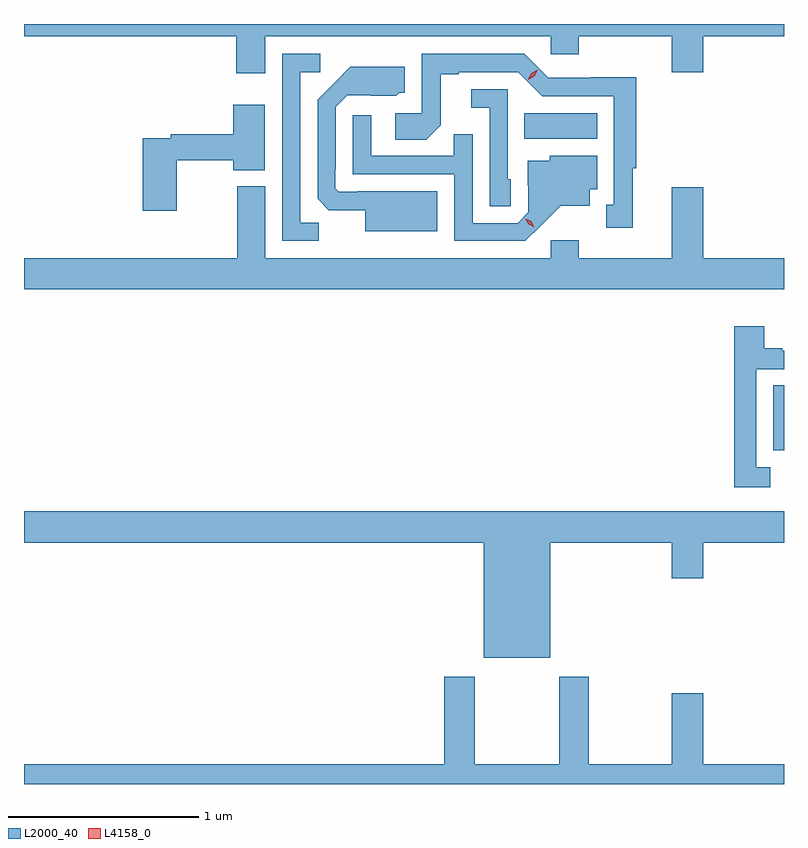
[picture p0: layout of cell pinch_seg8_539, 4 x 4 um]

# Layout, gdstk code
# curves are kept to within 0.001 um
import gdstk
lib = gdstk.Library(unit=1e-6, precision=1e-09)
def R(c, l, rs):  # rectangles x0, y0, x1, y1
    for r in rs: c.add(gdstk.rectangle(r[:2], r[2:], *l))
def P(c, l, *ps):  # polygons
    for p in ps: c.add(gdstk.Polygon(p, *l))
L2000_40 = (2000, 40)
L4158_0 = (4158, 0)

pinch_seg8_539 = lib.new_cell('pinch_seg8_539')
R(pinch_seg8_539, L2000_40, [(117.59,1107.661,117.646,1108.004), (116.278,1109.3,116.662,1109.434)])
P(pinch_seg8_539, L2000_40, [(114.916,1109.84),(116.418,1109.84),(116.418,1109.747),(116.565,1109.747),(116.565,1109.84),(117.056,1109.84),(117.056,1109.652),(117.22,1109.652),(117.22,1109.84),(117.646,1109.84),(117.646,1109.905),(113.646,1109.905),(113.646,1109.84),(114.764,1109.84),(114.764,1109.646),(114.916,1109.646)],
  [(115.197,1108.859),(115.101,1108.859),(115.101,1109.652),(115.204,1109.652),(115.204,1109.748),(115.005,1109.748),(115.005,1108.764),(115.197,1108.764)],
  [(116.851,1109.145),(116.869,1109.145),(116.869,1109.624),(116.628,1109.624),(116.628,1109.622),(116.406,1109.622),(116.28,1109.748),(115.74,1109.748),(115.74,1109.436),(115.599,1109.436),(115.599,1109.296),(115.763,1109.296),(115.839,1109.372),(115.839,1109.64),(115.933,1109.64),(115.933,1109.652),(116.247,1109.652),(116.373,1109.526),(116.75,1109.526),(116.75,1108.953),(116.711,1108.953),(116.711,1108.833),(116.851,1108.833)],
  [(115.822,1109.026),(115.402,1109.026),(115.402,1109.022),(115.302,1109.022),(115.284,1109.04),(115.284,1109.14),(115.287,1109.14),(115.287,1109.469),(115.347,1109.529),(115.604,1109.528),(115.62,1109.544),(115.651,1109.544),(115.651,1109.68),(115.363,1109.68),(115.191,1109.506),(115.191,1108.984),(115.25,1108.925),(115.442,1108.925),(115.442,1108.814),(115.822,1108.814)],
  [(116.208,1109.088),(116.193,1109.088),(116.193,1109.562),(116.001,1109.562),(116.001,1109.465),(116.097,1109.465),(116.097,1108.945),(116.208,1108.945)],
  [(114.45,1109.188),(114.746,1109.188),(114.746,1109.135),(114.913,1109.135),(114.913,1109.479),(114.746,1109.479),(114.746,1109.324),(114.418,1109.324),(114.418,1109.304),(114.272,1109.304),(114.272,1108.923),(114.45,1108.923)],
  [(116.368,1108.847),(116.471,1108.949),(116.623,1108.949),(116.623,1109.036),(116.662,1109.036),(116.662,1109.212),(116.412,1109.212),(116.412,1109.185),(116.297,1109.185),(116.297,1109.056),(116.301,1109.056),(116.301,1108.914),(116.244,1108.857),(116.007,1108.857),(116.007,1109.324),(115.909,1109.324),(115.909,1109.211),(115.473,1109.211),(115.473,1109.425),(115.377,1109.425),(115.377,1109.115),(115.911,1109.115),(115.911,1108.764),(116.284,1108.764)],
  [(117.646,1108.672),(117.22,1108.672),(117.22,1109.047),(117.056,1109.047),(117.056,1108.672),(116.565,1108.672),(116.565,1108.768),(116.418,1108.768),(116.418,1108.672),(114.916,1108.672),(114.916,1109.05),(114.769,1109.05),(114.769,1108.672),(113.646,1108.672),(113.646,1108.508),(117.646,1108.508)],
  [(117.574,1107.573),(117.501,1107.573),(117.501,1108.089),(117.646,1108.089),(117.646,1108.185),(117.637,1108.185),(117.637,1108.198),(117.541,1108.198),(117.541,1108.315),(117.385,1108.315),(117.385,1107.468),(117.574,1107.468)],
  [(116.416,1107.176),(117.056,1107.176),(117.056,1106.988),(117.22,1106.988),(117.22,1107.176),(117.646,1107.176),(117.646,1107.34),(113.646,1107.34),(113.646,1107.176),(116.066,1107.176),(116.066,1106.57),(116.416,1106.57)],
  [(117.646,1106.008),(117.22,1106.008),(117.22,1106.383),(117.056,1106.383),(117.056,1106.008),(116.619,1106.008),(116.619,1106.47),(116.464,1106.47),(116.464,1106.008),(116.019,1106.008),(116.019,1106.47),(115.859,1106.47),(115.859,1106.008),(113.646,1106.008),(113.646,1105.905),(117.646,1105.905)])
P(pinch_seg8_539, L4158_0, [(116.299,1109.612),(116.299,1109.613),(116.317,1109.645),(116.349,1109.664),(116.349,1109.664),(116.349,1109.664),(116.332,1109.631),(116.3,1109.612)],
  [(116.332,1108.836),(116.302,1108.851),(116.285,1108.881),(116.285,1108.881),(116.285,1108.881),(116.315,1108.866),(116.332,1108.836),(116.332,1108.836)])

lib.write_gds('pinch_seg8_539.gds')
